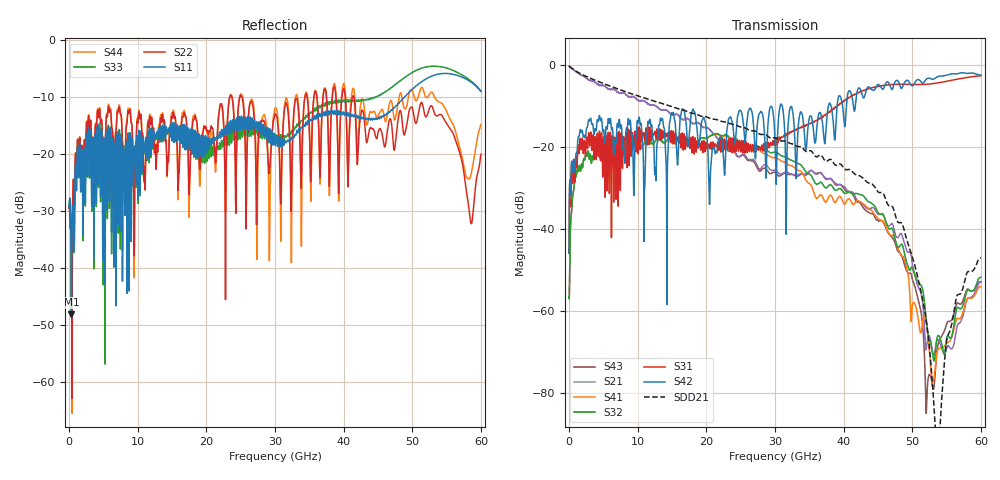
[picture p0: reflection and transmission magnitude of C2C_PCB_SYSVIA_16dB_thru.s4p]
!$Gore$
!C2C PCB Topology at Nominal
!Tuned Ballou BGA and Tuned Mayfield BOR
!Created with Channel Assembly Tool v1.0.4
# Hz S RI R 50
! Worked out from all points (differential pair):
!   6000 points, 10 MHz to 60 GHz, reference 50 ohm
!   strongest paths, dB at 10 MHz, 15.01 GHz, 30.01 GHz, 45.01 GHz, 60 GHz:
!     S42: -45.9, -11.8, -18.5, -4.7, -2.5
!     S31: -45.8, -18.2, -17.9, -5.2, -2.7
!     S32: -56.5, -18.3, -21.2, -36.0, -51.7
!     S41: -56.5, -18.5, -22.6, -37.4, -54.0
!     S21: -0.3, -12.1, -25.6, -36.4, -52.8
!     S43: -0.3, -12.1, -26.2, -38.0, -52.8
!   taken as a pair (ports 1,3 in; 2,4 out), SDD21 dB: -0.3, -10.2, -17.7, -30.9, -47.0
!   lowest |S11| = -48.1 dB at 350 MHz (marker M1), VSWR 1.01, Z = 50.3 - j0.198 ohm
!   |S11| at or under -10 dB: start of sweep to 48.92 GHz
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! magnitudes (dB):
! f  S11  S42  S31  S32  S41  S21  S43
! 10 MHz  -29.4  -45.9  -45.8  -56.5  -56.5  -0.3  -0.3
! 350 MHz  -48.1  -24.0  -24.4  -36.1  -36.1  -0.8  -0.8
! 4.32 GHz  -21.5  -13.2  -20.1  -20.6  -20.7  -4.8  -4.8
! 22.91 GHz  -15.1  -17.5  -18.3  -17.0  -17.3  -20.2  -20.2
! 45.71 GHz  -13.5  -6.0  -5.0  -36.5  -38.0  -36.2  -38.2
! 52.17 GHz  -6.8  -3.3  -4.7  -64.4  -64.2  -67.5  -79.6
! 60 GHz  -9.1  -2.5  -2.7  -51.7  -54.0  -52.8  -52.8
